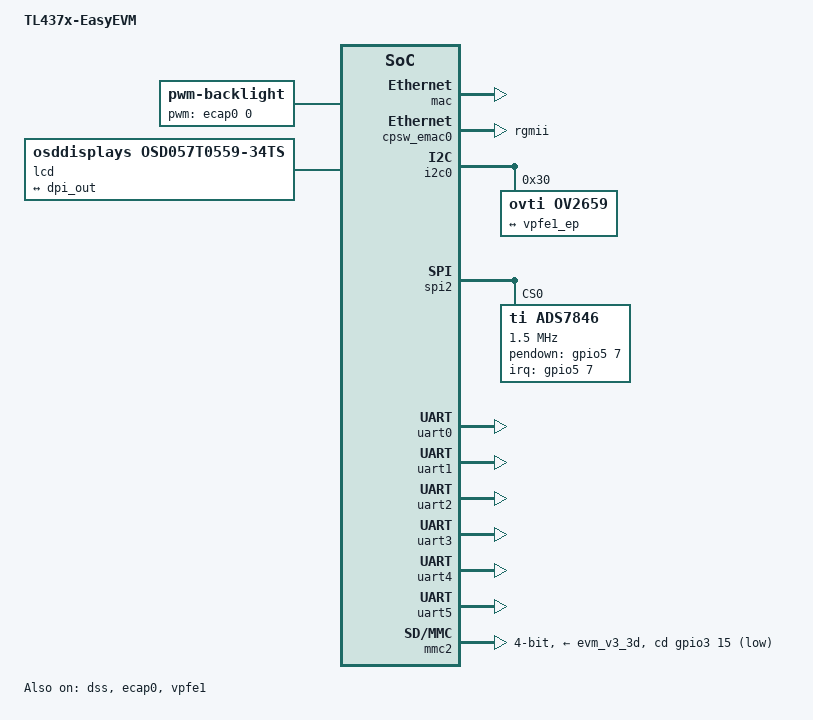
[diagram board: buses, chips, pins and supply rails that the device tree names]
/*
 * Copyright (C) 2015 GuangZhou Tronlong co., LTD - http://www.tronlong.com
 *
 * This program is free software; you can redistribute it and/or modify
 * it under the terms of the GNU General Public License version 2 as
 * published by the Free Software Foundation.
 */

/* device tree for TL437x-EasyEVM board */

#include "tl437x-common.dtsi"

/{
	model = "TL437x-EasyEVM";

	backlight {
		compatible = "pwm-backlight";

		pinctrl-names = "default";
		pinctrl-0 = <&ecap0_pins>;

		pwms = <&ecap0 0 50000 0>;
		brightness-levels = <0 32 64 96 128 159 191 223 255>;
		default-brightness-level = <8>;
	};

	lcd0: display {
		compatible = "osddisplays,osd057T0559-34ts", "panel-dpi";
		label = "lcd";

		panel-timing {
			clock-frequency = <9000000>;
			hactive = <480>;
			vactive = <272>;
			hfront-porch = <2>;
			hback-porch = <2>;
			hsync-len = <41>;
			vback-porch = <2>;
			vfront-porch = <2>;
			vsync-len = <10>;
			hsync-active = <0>;
			vsync-active = <0>;
			de-active = <1>;
			pixelclk-active = <1>;
		};

		port {
			lcd_in: endpoint {
				remote-endpoint = <&dpi_out>;
			};
		};
	};
};

&am43xx_pinmux {
	cpsw_default: cpsw_default {
		pinctrl-single,pins = <
			/* Slave 1 */
			AM4372_IOPAD(0x914, PIN_OUTPUT_PULLDOWN | MUX_MODE2)    	/* mii1_txen.rgmii1_txen */
			AM4372_IOPAD(0x918, PIN_INPUT_PULLDOWN | MUX_MODE2)     	/* mii1_rxdv.rgmii1_rxctl */
			AM4372_IOPAD(0x91c, PIN_OUTPUT_PULLDOWN | MUX_MODE2)    	/* mii1_txd1.rgmii1_txd3 */
			AM4372_IOPAD(0x920, PIN_OUTPUT_PULLDOWN | MUX_MODE2)    	/* mii1_txd0.rgmii1_txd2 */
			AM4372_IOPAD(0x924, PIN_OUTPUT_PULLDOWN | MUX_MODE2)    	/* mii1_txd1.rgmii1_txd1 */
			AM4372_IOPAD(0x928, PIN_OUTPUT_PULLDOWN | MUX_MODE2)    	/* mii1_txd0.rgmii1_txd0 */
			AM4372_IOPAD(0x92c, PIN_OUTPUT_PULLDOWN | MUX_MODE2)    	/* mii1_txclk.rmii1_tclk */
			AM4372_IOPAD(0x930, PIN_INPUT_PULLDOWN | MUX_MODE2)     	/* mii1_rxclk.rmii1_rclk */
			AM4372_IOPAD(0x934, PIN_INPUT_PULLDOWN | MUX_MODE2)     	/* mii1_rxd1.rgmii1_rxd3 */
			AM4372_IOPAD(0x938, PIN_INPUT_PULLDOWN | MUX_MODE2)     	/* mii1_rxd0.rgmii1_rxd2 */
			AM4372_IOPAD(0x93c, PIN_INPUT_PULLDOWN | MUX_MODE2)     	/* mii1_rxd1.rgmii1_rxd1 */
			AM4372_IOPAD(0x940, PIN_INPUT_PULLDOWN | MUX_MODE2)     	/* mii1_rxd0.rgmii1_rxd0 */
		>;
	};

	cpsw_sleep: cpsw_sleep {
		pinctrl-single,pins = <
			/* Slave 1 reset value */
			AM4372_IOPAD(0x914, PIN_INPUT_PULLDOWN | MUX_MODE7)
			AM4372_IOPAD(0x918, PIN_INPUT_PULLDOWN | MUX_MODE7)
			AM4372_IOPAD(0x91c, PIN_INPUT_PULLDOWN | MUX_MODE7)
			AM4372_IOPAD(0x920, PIN_INPUT_PULLDOWN | MUX_MODE7)
			AM4372_IOPAD(0x924, PIN_INPUT_PULLDOWN | MUX_MODE7)
			AM4372_IOPAD(0x928, PIN_INPUT_PULLDOWN | MUX_MODE7)
			AM4372_IOPAD(0x92c, PIN_INPUT_PULLDOWN | MUX_MODE7)
			AM4372_IOPAD(0x930, PIN_INPUT_PULLDOWN | MUX_MODE7)
			AM4372_IOPAD(0x934, PIN_INPUT_PULLDOWN | MUX_MODE7)
			AM4372_IOPAD(0x938, PIN_INPUT_PULLDOWN | MUX_MODE7)
			AM4372_IOPAD(0x93c, PIN_INPUT_PULLDOWN | MUX_MODE7)
			AM4372_IOPAD(0x940, PIN_INPUT_PULLDOWN | MUX_MODE7)
		>;
	};

	ads7846_pins: ads7846_pins {
		pinctrl-single,pins = <
			AM4372_IOPAD(0xa5c, PIN_INPUT_PULLUP | MUX_MODE7)       /* spi4_cs0.gpio5_7 */
		>;
	};

	vpfe1_pins_default: vpfe1_pins_default {
		pinctrl-single,pins = <
			AM4372_IOPAD(0x9cc, PIN_INPUT_PULLUP | MUX_MODE0)  /* cam1_data9 mode 0*/
			AM4372_IOPAD(0x9d0, PIN_INPUT_PULLUP | MUX_MODE0)  /* cam1_data8 mode 0*/
			AM4372_IOPAD(0x9d4, PIN_INPUT_PULLUP | MUX_MODE0)  /* cam1_hd mode 0*/
			AM4372_IOPAD(0x9d8, PIN_INPUT_PULLUP | MUX_MODE0)  /* cam1_vd mode 0*/
			AM4372_IOPAD(0x9dC, PIN_INPUT_PULLUP | MUX_MODE0)  /* cam1_pclk mode 0*/
			AM4372_IOPAD(0x9e8, PIN_INPUT_PULLUP | MUX_MODE0)  /* cam1_data0 mode 0*/
			AM4372_IOPAD(0x9ec, PIN_INPUT_PULLUP | MUX_MODE0)  /* cam1_data1 mode 0*/
			AM4372_IOPAD(0x9f0, PIN_INPUT_PULLUP | MUX_MODE0)  /* cam1_data2 mode 0*/
			AM4372_IOPAD(0x9f4, PIN_INPUT_PULLUP | MUX_MODE0)  /* cam1_data3 mode 0*/
			AM4372_IOPAD(0x9f8, PIN_INPUT_PULLUP | MUX_MODE0)  /* cam1_data4 mode 0*/
			AM4372_IOPAD(0x9fc, PIN_INPUT_PULLUP | MUX_MODE0)  /* cam1_data5 mode 0*/
			AM4372_IOPAD(0xa00, PIN_INPUT_PULLUP | MUX_MODE0)  /* cam1_data6 mode 0*/
			AM4372_IOPAD(0xa04, PIN_INPUT_PULLUP | MUX_MODE0)  /* cam1_data7 mode 0*/
		>;
	};

	dss_pins: dss_pins {
		pinctrl-single,pins = <
			AM4372_IOPAD(0x820, PIN_OUTPUT_PULLUP | MUX_MODE1) /*gpmc ad 8 -> DSS DATA 23 */
			AM4372_IOPAD(0x824, PIN_OUTPUT_PULLUP | MUX_MODE1)
			AM4372_IOPAD(0x828, PIN_OUTPUT_PULLUP | MUX_MODE1)
			AM4372_IOPAD(0x82c, PIN_OUTPUT_PULLUP | MUX_MODE1)
			AM4372_IOPAD(0x830, PIN_OUTPUT_PULLUP | MUX_MODE1)
			AM4372_IOPAD(0x834, PIN_OUTPUT_PULLUP | MUX_MODE1)
			AM4372_IOPAD(0x838, PIN_OUTPUT_PULLUP | MUX_MODE1)
			AM4372_IOPAD(0x83c, PIN_OUTPUT_PULLUP | MUX_MODE1) /*gpmc ad 15 -> DSS DATA 16 */
			AM4372_IOPAD(0x8a0, PIN_OUTPUT_PULLUP | MUX_MODE0) /* DSS DATA 0 */
			AM4372_IOPAD(0x8a4, PIN_OUTPUT_PULLUP | MUX_MODE0)
			AM4372_IOPAD(0x8a8, PIN_OUTPUT_PULLUP | MUX_MODE0)
			AM4372_IOPAD(0x8ac, PIN_OUTPUT_PULLUP | MUX_MODE0)
			AM4372_IOPAD(0x8b0, PIN_OUTPUT_PULLUP | MUX_MODE0)
			AM4372_IOPAD(0x8b4, PIN_OUTPUT_PULLUP | MUX_MODE0)
			AM4372_IOPAD(0x8b8, PIN_OUTPUT_PULLUP | MUX_MODE0)
			AM4372_IOPAD(0x8bc, PIN_OUTPUT_PULLUP | MUX_MODE0)
			AM4372_IOPAD(0x8c0, PIN_OUTPUT_PULLUP | MUX_MODE0)
			AM4372_IOPAD(0x8c4, PIN_OUTPUT_PULLUP | MUX_MODE0)
			AM4372_IOPAD(0x8c8, PIN_OUTPUT_PULLUP | MUX_MODE0)
			AM4372_IOPAD(0x8cc, PIN_OUTPUT_PULLUP | MUX_MODE0)
			AM4372_IOPAD(0x8d0, PIN_OUTPUT_PULLUP | MUX_MODE0)
			AM4372_IOPAD(0x8d4, PIN_OUTPUT_PULLUP | MUX_MODE0)
			AM4372_IOPAD(0x8d8, PIN_OUTPUT_PULLUP | MUX_MODE0)
			AM4372_IOPAD(0x8dc, PIN_OUTPUT_PULLUP | MUX_MODE0) /* DSS DATA 15 */
			AM4372_IOPAD(0x8e0, PIN_OUTPUT_PULLUP | MUX_MODE0) /* DSS VSYNC */
			AM4372_IOPAD(0x8e4, PIN_OUTPUT_PULLUP | MUX_MODE0) /* DSS HSYNC */
			AM4372_IOPAD(0x8e8, PIN_OUTPUT_PULLUP | MUX_MODE0) /* DSS PCLK */
			AM4372_IOPAD(0x8ec, PIN_OUTPUT_PULLUP | MUX_MODE0) /* DSS AC BIAS EN */

		>;
	};

	ecap0_pins: backlight_pins {
		pinctrl-single,pins = <
			AM4372_IOPAD(0x964, MUX_MODE0)       /* eCAP0_in_PWM0_out.eCAP0_in_PWM0_out MODE0 */
		>;
	};

	uart0_pins: uart0_pins {
		pinctrl-single,pins = <
			AM4372_IOPAD(0x970, PIN_INPUT_PULLUP | SLEWCTRL_FAST | DS0_PULL_UP_DOWN_EN | MUX_MODE0) /* uart0_rxd.uart0_rxd */
			AM4372_IOPAD(0x974, PIN_INPUT | PULL_DISABLE | SLEWCTRL_FAST | DS0_PULL_UP_DOWN_EN | MUX_MODE0) /* uart0_txd.uart0_txd */
		>;
	};

	uart1_pins: uart1_pins {
		pinctrl-single,pins = <
			AM4372_IOPAD(0x980, PIN_INPUT_PULLUP | MUX_MODE0)	/* uart1_rxd.uart1_rxd */
			AM4372_IOPAD(0x984, PIN_OUTPUT_PULLDOWN | MUX_MODE0)	/* uart1_txd.uart1_txd */
		>;
	};

	uart2_pins: uart2_pins {
		pinctrl-single,pins = <
			AM4372_IOPAD(0x90c, PIN_INPUT_PULLUP | MUX_MODE6)	/* mii1_crs.uart2_rxd */
			AM4372_IOPAD(0x910, PIN_OUTPUT_PULLDOWN | MUX_MODE6)	/* mii1_rx_er.uart2_txd */
		>;
	};

	uart3_pins: uart3_pins {
		pinctrl-single,pins = <
			AM4372_IOPAD(0xa28, PIN_INPUT_PULLUP | MUX_MODE0)   /* uart3_rxd.uart3_rxd */
			AM4372_IOPAD(0xa2c, PIN_OUTPUT_PULLDOWN | MUX_MODE0) /* uart3_txd.uart3_txd */
		>;
	};

	uart4_pins: uart4_pins {
		pinctrl-single,pins = <
			AM4372_IOPAD(0x968, PIN_INPUT_PULLUP | MUX_MODE1)   /* uart0_ctsn.uart4_rxd */
			AM4372_IOPAD(0x96c, PIN_OUTPUT_PULLDOWN | MUX_MODE1) /* uart0_rtsn.uart4_txd */
		>;
	};

	uart5_pins: uart5_pins {
		pinctrl-single,pins = <
			AM4372_IOPAD(0x908, PIN_INPUT_PULLUP | MUX_MODE3)	/* mii1_col.uart5_rxd */
			AM4372_IOPAD(0x944, PIN_OUTPUT_PULLDOWN | MUX_MODE3)	/* rmii1_refclk.uart5_txd */
		>;
	};

	mmc2_pins: pinmux_mmc2_pins {
		pinctrl-single,pins = <
			AM4372_IOPAD(0xA10, PIN_INPUT_PULLUP | MUX_MODE1)	/* cam0_data2.mmc1_clk */
			AM4372_IOPAD(0xA14, PIN_INPUT_PULLUP | MUX_MODE1)	/* cam0_data3.mmc1_cmd */
			AM4372_IOPAD(0xA18, PIN_INPUT_PULLUP | MUX_MODE1)	/* cam0_data4.mmc1_dat0 */
			AM4372_IOPAD(0xA1C, PIN_INPUT_PULLUP | MUX_MODE1)	/* cam0_data5.mmc1_dat1 */
			AM4372_IOPAD(0xA20, PIN_INPUT_PULLUP | MUX_MODE1)	/* cam0_data6.mmc1_dat2 */
			AM4372_IOPAD(0xA24, PIN_INPUT_PULLUP | MUX_MODE1)	/* cam0_data7.mmc1_dat3 */
			AM4372_IOPAD(0x994, PIN_INPUT | MUX_MODE7)		/* spi0_cs0.gpio3_15 */
		>;
	};
};

&dss {
	status = "ok";

	pinctrl-names = "default";
	pinctrl-0 = <&dss_pins>;

	port {
		dpi_out: endpoint {
			remote-endpoint = <&lcd_in>;
			data-lines = <24>;
		};
	};
};

&ecap0 {
	status = "okay";
};

&mac {
	slaves = <1>;
	pinctrl-names = "default","sleep";
	pinctrl-0 = <&cpsw_default>;
	pinctrl-1 = <&cpsw_sleep>;
	status = "okay";
};

&cpsw_emac0 {
	phy_id = <&davinci_mdio>, <4>;
	phy-mode = "rgmii";
	dual_emac_res_vlan = <1>;
};

&vpfe1 {
	status = "okay";
	pinctrl-names = "default";
	pinctrl-0 = <&vpfe1_pins_default>;

	port {
		vpfe1_ep: endpoint {
			remote-endpoint = <&ov2659_1>;
			ti,am437x-vpfe-interface = <0>;
			bus-width = <8>;
			hsync-active = <0>;
			vsync-active = <0>;
		};
	};
};

&i2c0 {
	status = "okay";

	ov2659@30 {
		compatible = "ovti,ov2659";
		reg = <0x30>;
		clocks = <&audio_mstrclk>;
		clock-names = "xvclk";
		port {
			ov2659_1: endpoint {
				remote-endpoint = <&vpfe1_ep>;
				link-frequencies = /bits/ 64 <70000000>;
			};
		};
	};
};

&spi2 {
	status = "okay";
	pinctrl-names = "default";
	pinctrl-0 = <&spi2_pins>;
	ti,pindir-d0-out-d1-in;

	ads7846@0 {
		pinctrl-names = "default";
		pinctrl-0 = <&ads7846_pins>;

		compatible = "ti,ads7846";

		reg = <0>;			/* CS0 */
		spi-max-frequency = <1500000>;

		interrupt-parent = <&gpio5>;
		interrupts = <7 0>;		/* gpio5_7 */
		pendown-gpio = <&gpio5 7 0>;

		ti,x-min = /bits/ 16 <0x0>;
		ti,x-max = /bits/ 16 <0x0fff>;
		ti,y-min = /bits/ 16 <0x0>;
		ti,y-max = /bits/ 16 <0x0fff>;

		ti,x-plate-ohms = /bits/ 16 <180>;
		ti,pressure-max = /bits/ 16 <255>;

		ti,debounce-max = /bits/ 16 <10>;
		ti,debounce-tol = /bits/ 16 <30>;
		ti,debounce-rep = /bits/ 16 <1>;

		ti,settle-delay-usec = /bits/ 16 <150>;
		ti,keep-vref-on = <1>;

		linux,wakeup;
	};
};

&uart0 {
	status = "okay";
	pinctrl-names = "default";
	pinctrl-0 = <&uart0_pins>;
};

&uart1 {
	status = "okay";
	pinctrl-names = "default";
	pinctrl-0 = <&uart1_pins>;
};

&uart2 {
	status = "okay";
	pinctrl-names = "default";
	pinctrl-0 = <&uart2_pins>;
};

&uart3 {
	status = "okay";
	pinctrl-names = "default";
	pinctrl-0 = <&uart3_pins>;
};

&uart4 {
	status = "okay";
	pinctrl-names = "default";
	pinctrl-0 = <&uart4_pins>;
};

&uart5 {
	status = "okay";
	pinctrl-names = "default";
	pinctrl-0 = <&uart5_pins>;
};

&mmc2 {
	status = "okay";
	vmmc-supply = <&evm_v3_3d>;
	bus-width = <4>;
	pinctrl-names = "default";
	pinctrl-0 = <&mmc2_pins>;
	cd-gpios = <&gpio3 15 GPIO_ACTIVE_LOW>;
};

&dispc {
	ti,no-reset-on-init;
	ti,no-idle;
};

&dss {
	ti,no-reset-on-init;
	ti,no-idle;
};

&gpio0 {
	ti,no-reset-on-init;
};
